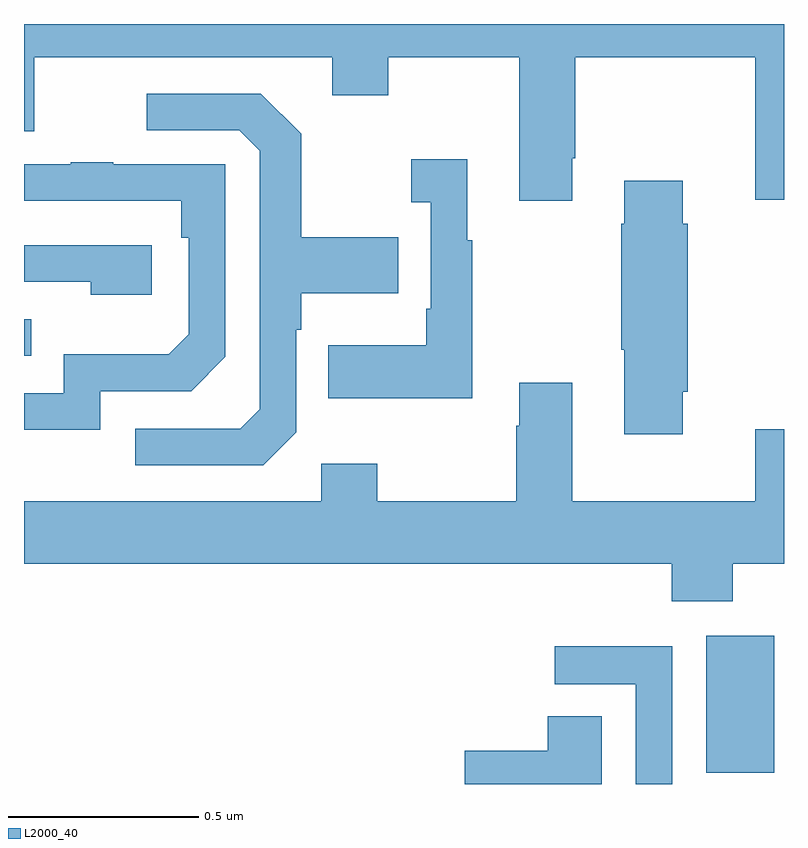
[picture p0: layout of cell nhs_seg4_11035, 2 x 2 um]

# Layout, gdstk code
import gdstk
lib = gdstk.Library(unit=1e-6, precision=1e-09)
def R(c, l, rs):  # rectangles x0, y0, x1, y1
    for r in rs: c.add(gdstk.rectangle(r[:2], r[2:], *l))
def P(c, l, *ps):  # polygons
    for p in ps: c.add(gdstk.Polygon(p, *l))
L2000_40 = (2000, 40)

nhs_seg4_11035 = lib.new_cell('nhs_seg4_11035')
R(nhs_seg4_11035, L2000_40, [(248.795,802.929,248.974,803.29), (247,804.027,247.019,804.123)])
P(nhs_seg4_11035, L2000_40, [(248.443,804.547),(248.451,804.547),(248.451,804.812),(248.924,804.812),(248.924,804.438),(249,804.438),(249,804.9),(247,804.9),(247,804.618),(247.027,804.618),(247.027,804.812),(247.811,804.812),(247.811,804.713),(247.959,804.713),(247.959,804.812),(248.303,804.812),(248.303,804.435),(248.443,804.435)],
  [(247.716,803.826),(247.716,804.095),(247.729,804.095),(247.729,804.191),(247.985,804.191),(247.985,804.339),(247.729,804.339),(247.729,804.611),(247.623,804.717),(247.323,804.717),(247.323,804.621),(247.566,804.621),(247.62,804.567),(247.62,803.886),(247.569,803.835),(247.293,803.835),(247.293,803.739),(247.629,803.739)],
  [(248.179,804.331),(248.167,804.331),(248.167,804.544),(248.019,804.544),(248.019,804.431),(248.07,804.431),(248.07,804.151),(248.058,804.151),(248.058,804.055),(247.801,804.055),(247.801,803.915),(248.179,803.915)],
  [(247.2,803.934),(247.44,803.934),(247.53,804.024),(247.53,804.531),(247.235,804.531),(247.235,804.536),(247.123,804.536),(247.123,804.531),(247,804.531),(247,804.435),(247.414,804.435),(247.414,804.338),(247.434,804.338),(247.434,804.084),(247.381,804.031),(247.104,804.031),(247.104,803.928),(247,803.928),(247,803.832),(247.2,803.832)],
  [(248.734,803.932),(248.747,803.932),(248.747,804.374),(248.734,804.374),(248.734,804.487),(248.579,804.487),(248.579,804.374),(248.572,804.374),(248.572,804.043),(248.579,804.043),(248.579,803.82),(248.734,803.82)],
  [(247.336,804.318),(247,804.318),(247,804.222),(247.175,804.222),(247.175,804.188),(247.336,804.188)],
  [(248.865,803.48),(249,803.48),(249,803.833),(248.924,803.833),(248.924,803.644),(248.443,803.644),(248.443,803.956),(248.303,803.956),(248.303,803.843),(248.296,803.843),(248.296,803.644),(247.929,803.644),(247.929,803.743),(247.782,803.743),(247.782,803.644),(247,803.644),(247,803.48),(248.705,803.48),(248.705,803.381),(248.865,803.381)],
  [(248.706,803.262),(248.397,803.262),(248.397,803.163),(248.61,803.163),(248.61,802.9),(248.706,802.9)],
  [(248.521,803.078),(248.378,803.078),(248.378,802.988),(248.16,802.988),(248.16,802.9),(248.521,802.9)])

lib.write_gds('nhs_seg4_11035.gds')
